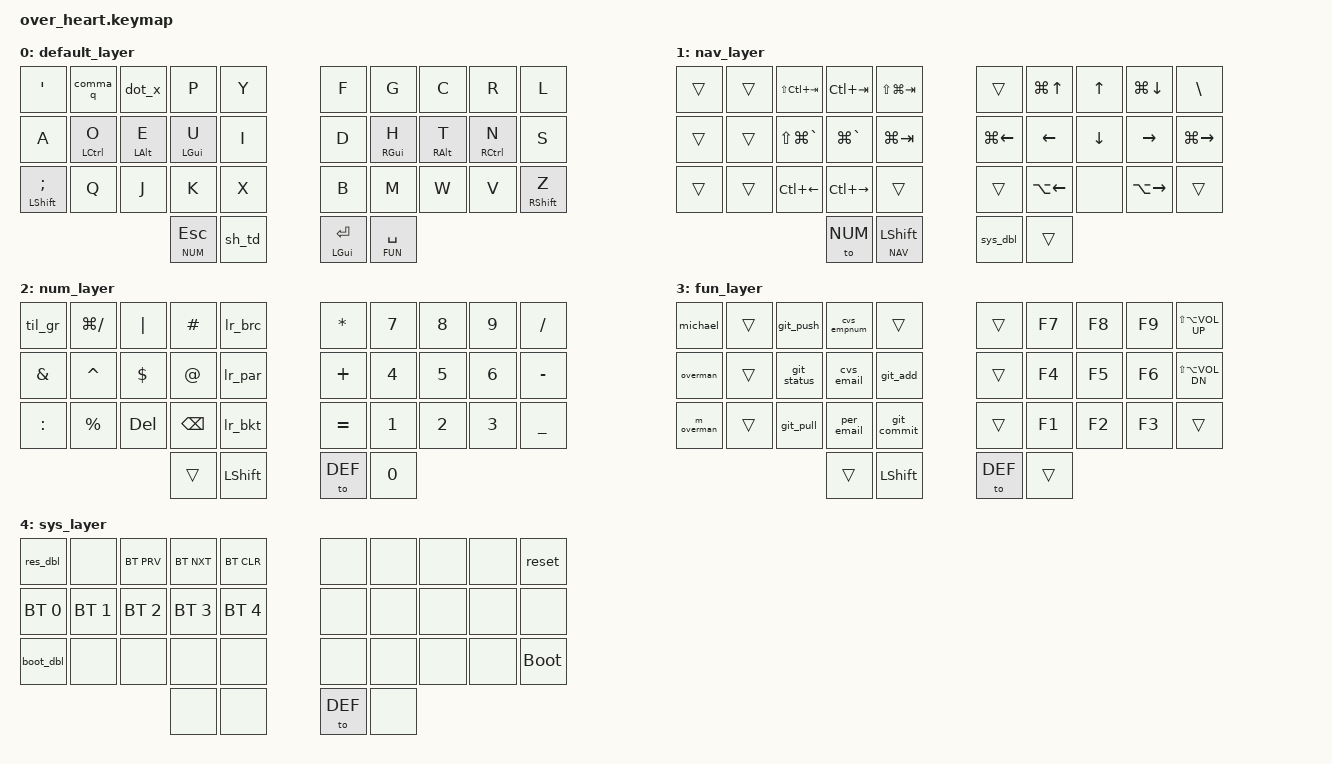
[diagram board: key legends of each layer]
#include <behaviors.dtsi>
#include <dt-bindings/zmk/keys.h>
#include <dt-bindings/zmk/bt.h>

&mt {
	tapping-term-ms = <200>;
	flavor = "tap-preferred";
};

#define DEF 0
#define NAV 1
#define NUM 2
#define FUN 3
#define BT 4

/ {
	combos {
		compatible = "zmk,combos";
		combo_tab {
            timeout-ms = <30>;
			key-positions = <1 2>;
            bindings = <&kp TAB>;
        };
	};
	behaviors {
		hm: homerow_mods {
			compatible = "zmk,behavior-hold-tap";
			label = "HOMEROW_MODS";
			#binding-cells = <2>;
			tapping-term-ms = <250>;
			quick_tap_ms = <150>;
			global-quick-tap;
			flavor = "tap-preferred";
			bindings = <&kp>, <&kp>;
		};
		hs: homerow_shifts {
            compatible = "zmk,behavior-hold-tap";
            label = "HOMEROW_SHIFTS";
            #binding-cells = <2>;
            tapping-term-ms = <150>;
            quick_tap_ms = <0>;
            flavor = "balanced";
            bindings = <&kp>, <&kp>;
        };
		comma_q: comma_question_mark {
			compatible = "zmk,behavior-tap-dance";
			label = "COMMA_QUESTION_MARK";
			#binding-cells = <0>;
			tapping-term-ms = <200>;
			bindings = <&kp COMMA>, <&kp QMARK>;
		};
		dot_x: period_exclamation_mark {
			compatible = "zmk,behavior-tap-dance";
			label = "PERIOD_EXCLAMATION_MARK";
			#binding-cells = <0>;
			tapping-term-ms = <240>;
			bindings = <&kp DOT>, <&kp EXCL>, <&dotdotdot>;
		};
		lr_brc: left_right_brace {
			compatible = "zmk,behavior-tap-dance";
			label = "LEFT_RIGHT_BRACE";
			#binding-cells = <0>;
			tapping-term-ms = <200>;
			bindings = <&kp LBRC>, <&kp RBRC>;
		};
		lr_par: left_right_parethesis {
			compatible = "zmk,behavior-tap-dance";
			label = "LEFT_RIGHT_PARENTHESIS";
			#binding-cells = <0>;
			tapping-term-ms = <200>;
			bindings = <&kp LPAR>, <&kp RPAR>;
		};
		lr_bkt: left_right_bracket {
			compatible = "zmk,behavior-tap-dance";
			label = "LEFT_RIGHT_BRACKET";
			#binding-cells = <0>;
			tapping-term-ms = <200>;
			bindings = <&kp LBKT>, <&kp RBKT>;
		};
		til_gr: tilde_grave {
			compatible = "zmk,behavior-tap-dance";
			label = "TILDE_GRAVE";
			#binding-cells = <0>;
			tapping-term-ms = <150>;
			bindings = <&kp TILDE>, <&kp GRAVE>;
		};
		//sm_cl: semicolon_colon {
			//compatible = "zmk,behavior-tap-dance";
			//label = "SEMICOLON_COLON";
			//#binding-cells = <0>;
			//tapping-term-ms = <200>;
			//bindings = <&hs LSHIFT SEMI>, <&kp COLON>;
		//};
		sh_td: tap_dance_shift_lock {
			compatible = "zmk,behavior-tap-dance";
			label = "TAP_DANCE_SHIFT_LOCK";
			#binding-cells = <0>;
			tapping-term-ms = <200>;
			bindings = <&mo NAV>, <&caps_word>;
		};
		sys_dbl: system_layer_double {
			compatible = "zmk,behavior-tap-dance";
			label = "SYSTEM_LAYER_DOUBLE";
			#binding-cells = <0>;
			tapping-term-ms = <200>;
			bindings = <&none>, <&to BT>;
		};
		boot_dbl: bootloader_double_tap {
			compatible = "zmk,behavior-tap-dance";
			label = "BOOTLOADER_DOUBLE_TAP";
			#binding-cells = <0>;
			tapping-term-ms = <200>;
			bindings = <&none>, <&bootloader>;
		};
		res_dbl: reset_double_tap {
			compatible = "zmk,behavior-tap-dance";
			label = "RESET_DOUBLE_TAP";
			#binding-cells = <0>;
			tapping-term-ms = <200>;
			bindings = <&none>, <&reset>;
		};
	};

	macros {
		dotdotdot: three_dots {
			label = "three_dots";
			compatible = "zmk,behavior-macro";
			wait-ms = <10>;
			tap-ms = <10>;
			#binding-cells = <0>;
			bindings = <&kp DOT &kp DOT &kp DOT>;
		};
		michael: michael {
			label = "Michael";
			compatible = "zmk,behavior-macro";
			wait-ms = <10>;
			tap-ms = <10>;
			#binding-cells = <0>;
			bindings
				= <&macro_tap &kp LS(M) &kp I &kp C &kp H &kp A &kp E &kp L>
				;
		};
		overman: overman {
			label = "Overman";
			compatible = "zmk,behavior-macro";
			wait-ms = <10>;
			tap-ms = <10>;
			#binding-cells = <0>;
			bindings
				= <&macro_tap &kp LS(O) &kp V &kp E &kp R &kp M &kp A &kp N>
				;
		};
		m_overman: m_overman {
			label = "Michael Overman";
			compatible = "zmk,behavior-macro";
			wait-ms = <10>;
			tap-ms = <10>;
			#binding-cells = <0>;
			bindings
				= <&macro_tap &kp LS(M) &kp I &kp C &kp H &kp A &kp E &kp L>
				, <&macro_tap &kp SPACE>
				, <&macro_tap &kp LS(O) &kp V &kp E &kp R &kp M &kp A &kp N>
				;
		};
		cvs_empnum: cvs_employee_number {
			label = "c178540";
			compatible = "zmk,behavior-macro";
			wait-ms = <10>;
			tap-ms = <10>;
			#binding-cells = <0>;
			bindings
				= <&macro_tap &kp C &kp N1 &kp N8 &kp N9 &kp N6 &kp N5 &kp N8>
				;
		};
		cvs_email: cvs_email {
			label = "michael.overman@cvshealth.com";
			compatible = "zmk,behavior-macro";
			wait-ms = <10>;
			tap-ms = <10>;
			#binding-cells = <0>;
			bindings
				= <&macro_tap &kp M &kp I &kp C &kp H &kp A &kp E &kp L &kp DOT &kp O &kp V &kp E &kp R &kp M &kp A &kp N>
				, <&kp AT &kp C &kp V &kp S &kp H &kp E &kp A &kp L &kp T &kp H &kp DOT &kp C &kp O &kp M>
				;
		};
		per_email: personal_email {
			label = "overman.michael@gmail.com";
			compatible = "zmk,behavior-macro";
			wait-ms = <10>;
			tap-ms = <10>;
			#binding-cells = <0>;
			bindings
				= <&macro_tap &kp O &kp V &kp E &kp R &kp M &kp A &kp N &kp DOT &kp M &kp I &kp C &kp H &kp A &kp E &kp L>
				, <&kp AT &kp G &kp M &kp A &kp I &kp L &kp DOT &kp C &kp O &kp M>
				;
		};
		git_commit: git_commit {
			label = "git_commit";
			compatible = "zmk,behavior-macro";
			wait-ms = <10>;
			tap-ms = <10>;
			#binding-cells = <0>;
			bindings
				= <&kp G &kp I &kp T &kp SPACE>
				, <&kp C &kp O &kp M &kp M &kp I &kp T &kp SPACE>
				, <&kp MINUS &kp M &kp SPACE &kp DQT &kp DQT>
				, <&kp LEFT>
				;
		};
		git_branch: git_branch {
			label = "git_branch";
			compatible = "zmk,behavior-macro";
			wait-ms = <10>;
			tap-ms = <10>;
			#binding-cells = <0>;
			bindings
				= <&kp F &kp E &kp A &kp T &kp U &kp R &kp E &kp BSLH>
				, <&kp A &kp R &kp C &kp H &kp I &kp T &kp E &kp C &kp T &kp U &kp R &kp E &kp BSLH>
				, <&kp O &kp V &kp E &kp R &kp M &kp A &kp N &kp BSLH>
				;
		};
		git_add: git_add {
			label = "git_add";
			compatible = "zmk,behavior-macro";
			wait-ms = <10>;
			tap-ms = <10>;
			#binding-cells = <0>;
			bindings
				= <&kp G &kp I &kp T &kp SPACE>
				, <&kp A &kp D &kp D &kp SPACE &kp STAR>
				;
		};
		git_status: git_status {
			label = "git_status";
			compatible = "zmk,behavior-macro";
			wait-ms = <10>;
			tap-ms = <10>;
			#binding-cells = <0>;
			bindings
				= <&kp G &kp I &kp T &kp SPACE>
				, <&kp S &kp T &kp A &kp T &kp U &kp S>
				;
		};
		git_push: git_push {
			label = "git_push";
			compatible = "zmk,behavior-macro";
			wait-ms = <10>;
			tap-ms = <10>;
			#binding-cells = <0>;
			bindings
				= <&kp G &kp I &kp T &kp SPACE>
				, <&kp P &kp U &kp S &kp H>
				;
		};
		git_pull: git_pull {
			label = "git_pull";
			compatible = "zmk,behavior-macro";
			wait-ms = <10>;
			tap-ms = <10>;
			#binding-cells = <0>;
			bindings
				= <&kp G &kp I &kp T &kp SPACE>
				, <&kp P &kp U &kp L &kp L>
				;
		};
	};


	keymap{
		compatible = "zmk,keymap";

		default_layer {
			bindings = <
				&kp SQT	&comma_q 	&dot_x	&kp P	&kp Y	&kp F	&kp G	&kp C		&kp R		&kp L
				&kp A	&hm LCTRL O	&hm LALT E	&hm LGUI U	&kp I		&kp D	&hm RGUI H	&hm RALT T	&hm RCTRL N	&kp S
				&hs LSHIFT SEMI	&kp Q	&kp J		&kp K		&kp X		&kp B	&kp M		&kp W		&kp V		&hs RSHIFT Z
										&lt NUM ESC &sh_td	&mt LGUI RET	&lt FUN SPACE
			>;
		};
		
		nav_layer {
			bindings = <
				&trans	&trans	&kp LS(LC(TAB))	&kp LC(TAB)	&kp LS(LG(TAB))		&trans	&kp LG(UP)	&kp UP	&kp LG(DOWN)	&kp BSLH
				&trans	&trans	&kp LS(LG(GRAVE))	&kp LG(GRAVE)	&kp LG(TAB)		&kp LG(LEFT)	&kp LEFT	&kp DOWN	&kp RIGHT	&kp LG(RIGHT)
				&trans	&trans	&kp LC(LEFT)	&kp LC(RIGHT)	&trans		&trans	&kp LA(LEFT)	&none	&kp LA(RIGHT)	&trans
										&to NUM	&lt NAV LSHIFT	&sys_dbl	&trans
			>;
		};

		num_layer {
			bindings = <
				&til_gr	&kp LG(FSLH)	&kp PIPE	&kp HASH	&lr_brc	&kp STAR	&kp N7		&kp N8		&kp N9		&kp FSLH 
				&kp AMPS		&kp CARET	&kp DOLLAR	&kp AT		&lr_par	&kp PLUS	&kp N4		&kp N5		&kp N6		&kp MINUS
				&kp COLON		&kp PRCNT	&kp DEL		&kp BSPC	&lr_bkt	&kp EQUAL	&kp N1		&kp N2		&kp N3		&kp UNDER
														&trans	&kp LSHIFT &to DEF	&kp N0
				>;
		};

		fun_layer {
			bindings = <
				&michael	&trans	&git_push	&cvs_empnum	&trans		&trans	&kp F7	&kp F8	&kp F9	&kp LS(LA(C_VOL_UP))
				&overman	&trans	&git_status	&cvs_email	&git_add		&trans	&kp F4	&kp F5	&kp F6	&kp LS(LA(C_VOL_DN))
				&m_overman	&trans	&git_pull	&per_email	&git_commit		&trans	&kp F1	&kp F2	&kp F3	&trans
										&trans	&kp LSHIFT		&to DEF	&trans
			>;
		};

		sys_layer {
			bindings = <
				&res_dbl	&none			&bt BT_PRV		&bt BT_NXT		&bt BT_CLR		&none	&none	&none	&none	&reset
				&bt BT_SEL 0	&bt BT_SEL 1	&bt BT_SEL 2	&bt BT_SEL 3	&bt BT_SEL 4		&none	&none	&none	&none	&none
				&boot_dbl	&none			&none			&none			&none				&none	&none	&none	&none	&bootloader
																&none			&none				&to DEF	&none
			>;
		};

	};
};
